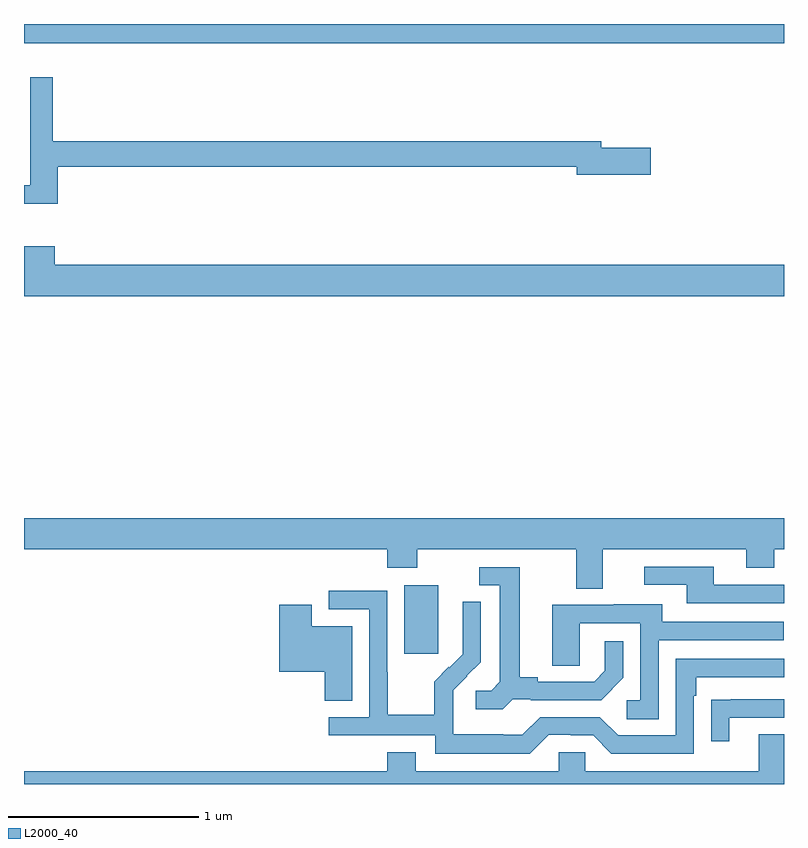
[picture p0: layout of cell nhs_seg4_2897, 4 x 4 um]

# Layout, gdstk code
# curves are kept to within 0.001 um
import gdstk
lib = gdstk.Library(unit=1e-6, precision=1e-09)
def R(c, l, rs):  # rectangles x0, y0, x1, y1
    for r in rs: c.add(gdstk.rectangle(r[:2], r[2:], *l))
def P(c, l, *ps):  # polygons
    for p in ps: c.add(gdstk.Polygon(p, *l))
L2000_40 = (2000, 40)

nhs_seg4_2897 = lib.new_cell('nhs_seg4_2897')
R(nhs_seg4_2897, L2000_40, [(265.001,813.585,265.18,813.946), (263,816.8,267,816.9)])
P(nhs_seg4_2897, L2000_40, [(263.177,816.148),(265.91,816.148),(265.91,816.106),(266.299,816.106),(266.299,816.248),(266.038,816.248),(266.038,816.284),(263.15,816.284),(263.15,816.619),(263.034,816.619),(263.034,816.052),(263,816.052),(263,815.953),(263.177,815.953)],
  [(267,815.632),(263.162,815.632),(263.162,815.731),(263.002,815.731),(263.002,815.632),(263,815.632),(263,815.468),(267,815.468)],
  [(266.047,814.136),(266.801,814.136),(266.801,814.037),(266.949,814.037),(266.949,814.136),(267,814.136),(267,814.3),(263,814.3),(263,814.136),(264.911,814.136),(264.911,814.037),(265.071,814.037),(265.071,814.136),(265.907,814.136),(265.907,813.928),(266.047,813.928)],
  [(267,813.948),(266.629,813.948),(266.629,814.044),(266.265,814.044),(266.265,813.948),(266.489,813.948),(266.489,813.852),(267,813.852)],
  [(265.572,813.345),(265.666,813.345),(265.666,813.342),(266.038,813.342),(266.154,813.458),(266.154,813.652),(266.057,813.652),(266.057,813.495),(266,813.438),(265.705,813.438),(265.705,813.461),(265.609,813.461),(265.609,814.041),(265.395,814.041),(265.395,813.945),(265.505,813.945),(265.505,813.437),(265.458,813.39),(265.377,813.39),(265.377,813.293),(265.52,813.293)],
  [(265.761,813.159),(265.877,813.159),(265.877,813.156),(265.995,813.156),(266.091,813.06),(266.526,813.06),(266.526,813.365),(266.539,813.365),(266.539,813.462),(267,813.462),(267,813.558),(266.43,813.558),(266.43,813.156),(266.127,813.156),(266.031,813.252),(265.716,813.252),(265.623,813.159),(265.523,813.159),(265.523,813.163),(265.26,813.163),(265.26,813.297),(265.258,813.297),(265.258,813.394),(265.404,813.542),(265.404,813.86),(265.308,813.86),(265.308,813.706),(265.31,813.706),(265.31,813.584),(265.239,813.513),(265.236,813.516),(265.159,813.439),(265.159,813.265),(264.915,813.265),(264.915,813.488),(264.912,813.488),(264.912,813.918),(264.603,813.918),(264.603,813.819),(264.816,813.819),(264.816,813.252),(264.603,813.252),(264.603,813.156),(265.164,813.156),(265.164,813.059),(265.661,813.059)],
  [(266.34,813.657),(266.999,813.657),(266.999,813.753),(266.359,813.753),(266.359,813.847),(266.105,813.847),(266.105,813.843),(265.781,813.843),(265.781,813.523),(265.926,813.523),(265.926,813.747),(266.244,813.747),(266.244,813.342),(266.172,813.342),(266.172,813.241),(266.34,813.241)],
  [(264.727,813.73),(264.514,813.73),(264.514,813.844),(264.344,813.844),(264.344,813.491),(264.584,813.491),(264.584,813.337),(264.727,813.337)],
  [(266.713,813.249),(267,813.249),(267,813.345),(266.719,813.345),(266.719,813.344),(266.617,813.344),(266.617,813.126),(266.713,813.126)],
  [(267,813.163),(266.867,813.163),(266.867,812.968),(265.953,812.968),(265.953,813.066),(265.815,813.066),(265.815,812.968),(265.063,812.968),(265.063,813.067),(264.911,813.067),(264.911,812.968),(263,812.968),(263,812.9),(267,812.9)])

lib.write_gds('nhs_seg4_2897.gds')
